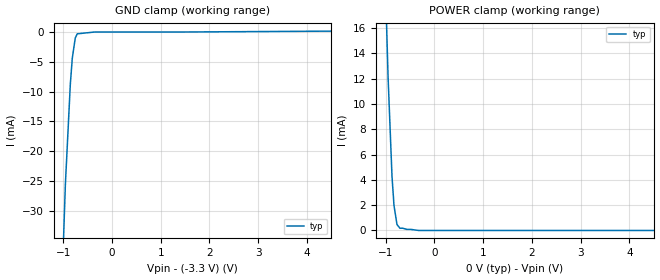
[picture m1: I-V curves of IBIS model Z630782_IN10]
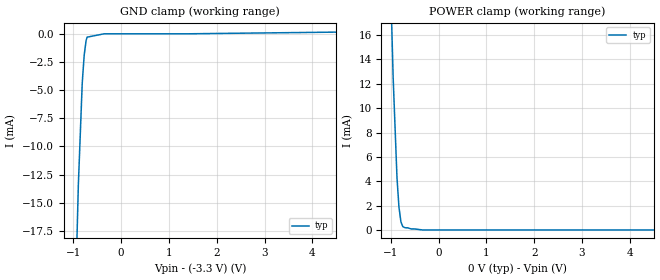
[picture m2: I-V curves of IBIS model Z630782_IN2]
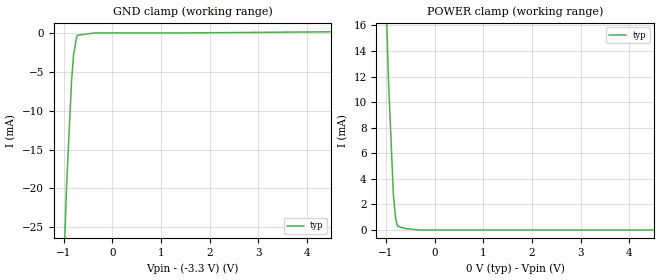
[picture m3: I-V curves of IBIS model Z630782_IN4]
| YOU ARE ONLY AUTHORIZED TO USE THIS SOFTWARE
| ACCORDING TO LICENSOR'S LICENSE RESTRICTIONS.
[IBIS Ver] 3.1
[File Name] mc100ep139dt_-33.ibs
[File Rev] 2.0
[Source] Measured and created by ICX Technology
[Date] Monday 10/30/00 3:36:28 PM
[Copyright]
| (C) COPYRIGHT 1993-2000
| MENTOR GRAPHICS CORPORATION
| ICX STANDARD LIBRARY, ICX PROJECT MODELING,
| ICX CUSTOM MODELING, ICX VENDOR MODEL
| ALL RIGHTS RESERVED.
| THE FOLLOWING ARE TRADEMARKS OR SERVICE MARKS OF
| MENTOR GRAPHICS CORPORATION:ICX (R), ICX STANDARD
| LIBRARY(R), ICX PROJECT MODELING(R), ICX CUSTOM
| MODELING(R), qualityIBIS(TM), MODELVIEWER(TM),
| AND MODELEDITOR(TM)
| ALL COPIES OF SOFTWARE, INCLUDING BUT NOT LIMITED TO
| ANY MODIFICATIONS, ENHANCEMENTS OR DERIVATIVE WORKS,
| MUST CONTAIN ALL MENTOR GRAPHICS CORPORATION'S
| NOTICES AND LEGENDS, INCLUDING THOSE EMBEDDED IN
| SOFTWARE AND THOSE AFFIXED TO SOFTWARE MEDIUM
| AND CONTAINER, AS RECEIVED FROM MENTOR GRAPHICS
| CORPORATION.
|  ZAP Model Builder 2.8
[Component] MC100EP139DT_-33
[Manufacturer] ON
[Package]
| variable   typ   min   max
R_pkg  .18ohms NA NA
L_pkg  4.22nH NA NA
C_pkg  .41pF NA NA
[Pin] signal_name  model_name  R_pin  L_pin C_pin
1 VCC POWER .194 5.16n .43p
2 _EN Z630782_IN2 .185 4.57n .42p
3 DIV_SELB0 Z630782_IN10 .177 3.98n .42p
4 CLK Z630782_IN4 .174 3.79n .41p
5 _CLK Z630782_IN4 .171 3.6n .37p
6 VBB POWER .171 3.6n .37p
7 MR Z630782_IN7 .174 3.79n .41p
8 VCC POWER .177 3.98n .42p
9 DIV_SELB1 Z630782_IN10 .185 4.57n .42p
10 DIV_SELA Z630782_IN10 .194 5.16n .43p
11 VEE POWER .194 5.16n .43p
12 _Q3 Z630782_OUT13 .185 4.57n .42p
13 Q3 Z630782_OUT13 .177 3.98n .42p
14 _Q2 Z630782_OUT13 .174 3.79n .41p
15 Q2 Z630782_OUT13 .171 3.6n .37p
16 _Q1 Z630782_OUT17 .171 3.6n .37p
17 Q1 Z630782_OUT17 .174 3.79n .41p
18 _Q0 Z630782_OUT17 .177 3.98n .42p
19 Q0 Z630782_OUT17 .185 4.57n .42p
20 VCC POWER .194 5.16n .43p
[Diff Pin] inv_pin vdiff tdelay_typ tdelay_min tdelay_max
4 5 800mv NA NA NA
13 12 NA .05ns NA NA
15 14 NA .05ns NA NA
17 16 NA .05ns NA NA
19 18 NA .05ns NA NA
| Models and submodels in the file (6): Z630782_IN10 (Input_ECL), Z630782_IN2 (Input_ECL), Z630782_IN4 (Input_ECL), Z630782_IN7 (Input_ECL), Z630782_OUT13 (Output_ECL), Z630782_OUT17 (Output_ECL)
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| (C) COPYRIGHT 1993-2000
| MENTOR GRAPHICS CORPORATION
| ICX STANDARD LIBRARY, ICX PROJECT MODELING,
| ICX CUSTOM MODELING, ICX VENDOR MODEL
| ALL RIGHTS RESERVED.
| THE FOLLOWING ARE TRADEMARKS OR SERVICE MARKS OF
| MENTOR GRAPHICS CORPORATION:ICX (R), ICX STANDARD
| LIBRARY(R), ICX PROJECT MODELING(R), ICX CUSTOM
| MODELING(R), qualityIBIS(TM), MODELVIEWER(TM),
| AND MODELEDITOR(TM)
| ALL COPIES OF SOFTWARE, INCLUDING BUT NOT LIMITED TO
| ANY MODIFICATIONS, ENHANCEMENTS OR DERIVATIVE WORKS,
| MUST CONTAIN ALL MENTOR GRAPHICS CORPORATION'S
| NOTICES AND LEGENDS, INCLUDING THOSE EMBEDDED IN
| SOFTWARE AND THOSE AFFIXED TO SOFTWARE MEDIUM
| AND CONTAINER, AS RECEIVED FROM MENTOR GRAPHICS
| CORPORATION.
| Model Application Version 1.89 2/18/99.
[Model] Z630782_IN10
Model_type Input_ECL
Vinl = -1.642V
Vinh = -1.022V
C_comp 3.000pF NA NA
| variable typ   min   max
[Voltage Range] -3.300V NA NA
[GND Clamp Reference] -3.300V NA NA
[POWER Clamp Reference] 0.000V NA NA
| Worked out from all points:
|   GND clamp passes 1 mA (typ) near -0.75 V on its own axis
|   POWER clamp passes 1 mA (typ) near -0.79 V on its own axis
[GND Clamp]
-3.3V     -744.8mA   NA         NA
-1.058V   -50.1mA    NA         NA
-957mV    -25.6mA    NA         NA
-855mV    -8.7mA     NA         NA
-815mV    -4.4mA     NA         NA
-754mV    -1mA       NA         NA
-713mV    -300uA     NA         NA
-356.5mV  0A         NA         NA
1.414V    0A         NA         NA
6.6V      250.8uA    NA         NA
[POWER Clamp]
-3.3V     397.3mA    NA         NA
-1.054V   25.76mA    NA         NA
-953mV    12.16mA    NA         NA
-872mV    4.267mA    NA         NA
-831mV    1.969mA    NA         NA
-770mV    471.6uA    NA         NA
-709.5mV  177.4uA    NA         NA
-649mV    177.4uA    NA         NA
-567.5mV  85.3uA     NA         NA
-486mV    85.3uA     NA         NA
-324mV    0A         NA         NA
6.6V      0A         NA         NA
| (C) COPYRIGHT 1993-2000
| MENTOR GRAPHICS CORPORATION
| ICX STANDARD LIBRARY, ICX PROJECT MODELING,
| ICX CUSTOM MODELING, ICX VENDOR MODEL
| ALL RIGHTS RESERVED.
| THE FOLLOWING ARE TRADEMARKS OR SERVICE MARKS OF
| MENTOR GRAPHICS CORPORATION:ICX (R), ICX STANDARD
| LIBRARY(R), ICX PROJECT MODELING(R), ICX CUSTOM
| MODELING(R), qualityIBIS(TM), MODELVIEWER(TM),
| AND MODELEDITOR(TM)
| ALL COPIES OF SOFTWARE, INCLUDING BUT NOT LIMITED TO
| ANY MODIFICATIONS, ENHANCEMENTS OR DERIVATIVE WORKS,
| MUST CONTAIN ALL MENTOR GRAPHICS CORPORATION'S
| NOTICES AND LEGENDS, INCLUDING THOSE EMBEDDED IN
| SOFTWARE AND THOSE AFFIXED TO SOFTWARE MEDIUM
| AND CONTAINER, AS RECEIVED FROM MENTOR GRAPHICS
| CORPORATION.
| Model Application Version 1.89 2/18/99.
[Model] Z630782_IN2
Model_type Input_ECL
Vinl = -1.642V
Vinh = -1.022V
C_comp 3.000pF NA NA
| variable typ   min   max
[Voltage Range] -3.300V NA NA
[GND Clamp Reference] -3.300V NA NA
[POWER Clamp Reference] 0.000V NA NA
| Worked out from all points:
|   GND clamp passes 1 mA (typ) near -0.75 V on its own axis
|   POWER clamp passes 1 mA (typ) near -0.80 V on its own axis
[GND Clamp]
-3.3V     -503mA     NA         NA
-1.038V   -36.6mA    NA         NA
-896mV    -13.4mA    NA         NA
-815mV    -4.4mA     NA         NA
-774mV    -1.9mA     NA         NA
-734mV    -600uA     NA         NA
-713mV    -300uA     NA         NA
-356.5mV  0A         NA         NA
1.425V    0A         NA         NA
6.6V      249uA      NA         NA
[POWER Clamp]
-3.3V     435.2mA    NA         NA
-1.054V   27.26mA    NA         NA
-953mV    12.56mA    NA         NA
-872mV    4.268mA    NA         NA
-831mV    1.87mA     NA         NA
-790mV    671.8uA    NA         NA
-750mV    273.7uA    NA         NA
-699.5mV  178.5uA    NA         NA
-337.3mV  0A         NA         NA
6.6V      0A         NA         NA
| (C) COPYRIGHT 1993-2000
| MENTOR GRAPHICS CORPORATION
| ICX STANDARD LIBRARY, ICX PROJECT MODELING,
| ICX CUSTOM MODELING, ICX VENDOR MODEL
| ALL RIGHTS RESERVED.
| THE FOLLOWING ARE TRADEMARKS OR SERVICE MARKS OF
| MENTOR GRAPHICS CORPORATION:ICX (R), ICX STANDARD
| LIBRARY(R), ICX PROJECT MODELING(R), ICX CUSTOM
| MODELING(R), qualityIBIS(TM), MODELVIEWER(TM),
| AND MODELEDITOR(TM)
| ALL COPIES OF SOFTWARE, INCLUDING BUT NOT LIMITED TO
| ANY MODIFICATIONS, ENHANCEMENTS OR DERIVATIVE WORKS,
| MUST CONTAIN ALL MENTOR GRAPHICS CORPORATION'S
| NOTICES AND LEGENDS, INCLUDING THOSE EMBEDDED IN
| SOFTWARE AND THOSE AFFIXED TO SOFTWARE MEDIUM
| AND CONTAINER, AS RECEIVED FROM MENTOR GRAPHICS
| CORPORATION.
| Model Application Version 1.89 2/18/99.
[Model] Z630782_IN4
Model_type Input_ECL
Vinl = -1.642V
Vinh = -1.022V
C_comp 3.000pF NA NA
| variable typ   min   max
[Voltage Range] -3.300V NA NA
[GND Clamp Reference] -3.300V NA NA
[POWER Clamp Reference] 0.000V NA NA
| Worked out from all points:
|   GND clamp passes 1 mA (typ) near -0.74 V on its own axis
|   POWER clamp passes 1 mA (typ) near -0.80 V on its own axis
[GND Clamp]
-3.3V     -537.1mA   NA         NA
-1.078V   -45.3mA    NA         NA
-937mV    -19.5mA    NA         NA
-835mV    -6.1mA     NA         NA
-795mV    -2.9mA     NA         NA
-734mV    -600uA     NA         NA
-713mV    -300uA     NA         NA
-356.5mV  0A         NA         NA
1.435V    0A         NA         NA
6.6V      247.4uA    NA         NA
[POWER Clamp]
-3.3V     405.1mA    NA         NA
-1.054V   25.56mA    NA         NA
-953mV    11.97mA    NA         NA
-851mV    2.87mA     NA         NA
-811mV    1.172mA    NA         NA
-790mV    672.8uA    NA         NA
-759.5mV  275.8uA    NA         NA
-578mV    86.4uA     NA         NA
-338mV    0A         NA         NA
6.6V      0A         NA         NA
